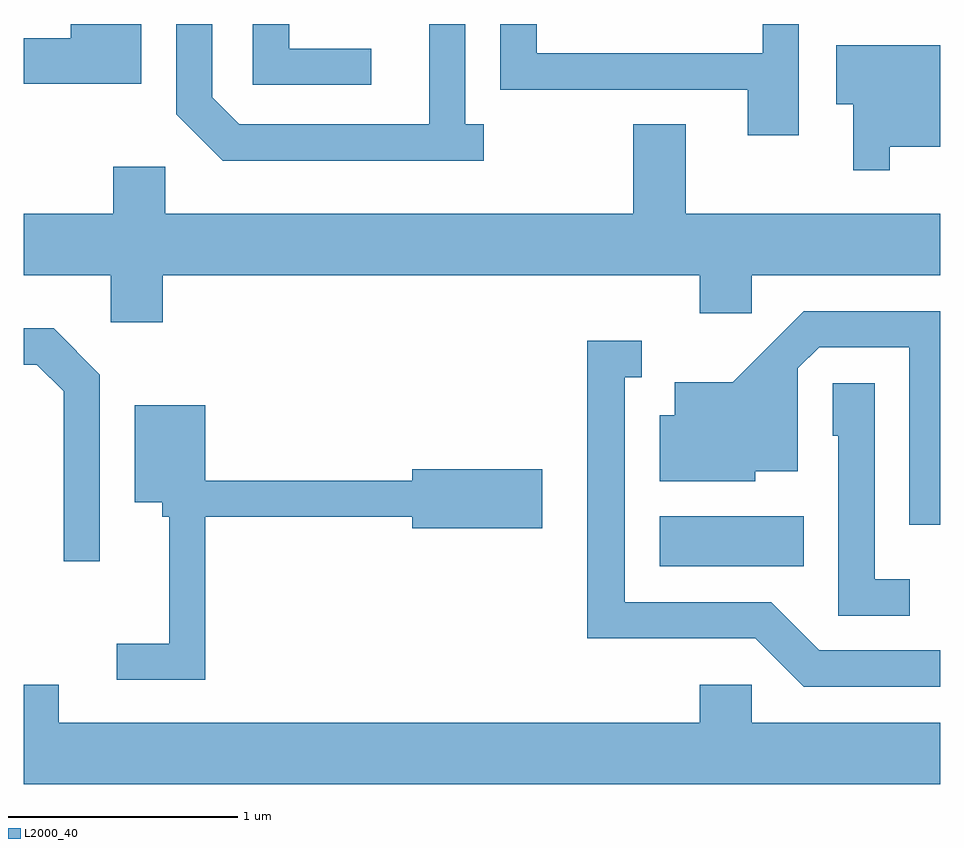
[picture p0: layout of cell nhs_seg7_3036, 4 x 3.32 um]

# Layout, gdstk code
import gdstk
lib = gdstk.Library(unit=1e-6, precision=1e-09)
def R(c, l, rs):  # rectangles x0, y0, x1, y1
    for r in rs: c.add(gdstk.rectangle(r[:2], r[2:], *l))
def P(c, l, *ps):  # polygons
    for p in ps: c.add(gdstk.Polygon(p, *l))
L2000_40 = (2000, 40)

nhs_seg7_3036 = lib.new_cell('nhs_seg7_3036')
R(nhs_seg7_3036, L2000_40, [(280.386,1761.886,281.014,1762.104)])
P(nhs_seg7_3036, L2000_40, [(280.994,1764.252),(280.836,1764.252),(280.836,1764.124),(279.849,1764.124),(279.849,1764.252),(279.691,1764.252),(279.691,1763.966),(280.771,1763.966),(280.771,1763.766),(280.994,1763.766)],
  [(279.128,1764.144),(278.769,1764.144),(278.769,1764.252),(278.611,1764.252),(278.611,1763.986),(279.128,1763.986)],
  [(279.618,1763.814),(279.539,1763.814),(279.539,1764.252),(279.381,1764.252),(279.381,1763.814),(278.552,1763.814),(278.434,1763.932),(278.434,1764.252),(278.276,1764.252),(278.276,1763.859),(278.479,1763.656),(279.618,1763.656)],
  [(278.124,1764.252),(277.816,1764.252),(277.816,1764.189),(277.611,1764.189),(277.611,1763.991),(278.124,1763.991)],
  [(281.389,1763.716),(281.611,1763.716),(281.611,1764.159),(281.156,1764.159),(281.156,1763.901),(281.231,1763.901),(281.231,1763.613),(281.389,1763.613)],
  [(277.611,1763.156),(277.991,1763.156),(277.991,1762.951),(278.219,1762.951),(278.219,1763.156),(280.561,1763.156),(280.561,1762.991),(280.789,1762.991),(280.789,1763.156),(281.611,1763.156),(281.611,1763.424),(280.499,1763.424),(280.499,1763.814),(280.271,1763.814),(280.271,1763.424),(278.229,1763.424),(278.229,1763.629),(278.001,1763.629),(278.001,1763.424),(277.611,1763.424)],
  [(281.611,1762.999),(281.014,1762.999),(280.704,1762.689),(280.451,1762.689),(280.451,1762.544),(280.386,1762.544),(280.386,1762.256),(280.804,1762.256),(280.804,1762.301),(280.989,1762.301),(280.989,1762.749),(281.082,1762.841),(281.476,1762.841),(281.476,1762.068),(281.611,1762.068)],
  [(277.944,1762.722),(277.742,1762.924),(277.611,1762.924),(277.611,1762.766),(277.669,1762.766),(277.786,1762.649),(277.786,1761.908),(277.944,1761.908)],
  [(281.611,1761.519),(281.082,1761.519),(280.872,1761.729),(280.234,1761.729),(280.234,1762.711),(280.308,1762.711),(280.308,1762.869),(280.071,1762.869),(280.071,1761.571),(280.804,1761.571),(281.014,1761.361),(281.611,1761.361)],
  [(281.478,1761.829),(281.324,1761.829),(281.324,1762.684),(281.141,1762.684),(281.141,1762.456),(281.166,1762.456),(281.166,1761.671),(281.478,1761.671)],
  [(278.404,1762.101),(279.306,1762.101),(279.306,1762.051),(279.874,1762.051),(279.874,1762.309),(279.306,1762.309),(279.306,1762.259),(278.404,1762.259),(278.404,1762.589),(278.096,1762.589),(278.096,1762.166),(278.216,1762.166),(278.216,1762.101),(278.246,1762.101),(278.246,1761.549),(278.018,1761.549),(278.018,1761.391),(278.404,1761.391)],
  [(281.611,1761.204),(280.789,1761.204),(280.789,1761.369),(280.561,1761.369),(280.561,1761.204),(277.764,1761.204),(277.764,1761.369),(277.611,1761.369),(277.611,1760.936),(281.611,1760.936)])

lib.write_gds('nhs_seg7_3036.gds')
